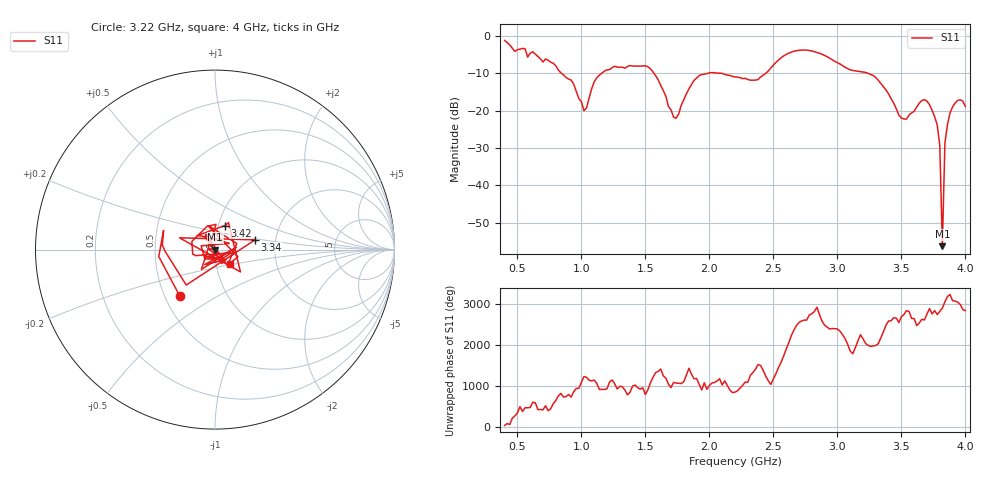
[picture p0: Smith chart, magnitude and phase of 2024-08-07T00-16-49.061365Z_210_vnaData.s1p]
!Created with skrf (http://scikit-rf.org).
# Hz S RI R 50.0
!freq ReS11 ImS11
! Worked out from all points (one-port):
!   181 points, 400 MHz to 4 GHz, reference 50 ohm
!   lowest |S11| = -56.3 dB at 3.82 GHz (marker M1), VSWR 1.00, Z = 50.1 + j0.0411 ohm
!   |S11| at or under -10 dB: 1.567 GHz to 1.988 GHz (421.2 MHz wide, 23.7 % of centre); 2.091 GHz to 2.441 GHz (350.1 MHz wide, 15.5 % of centre); 3.239 GHz to end of sweep (the widest 3 of 4)
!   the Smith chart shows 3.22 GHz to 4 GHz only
!   S11 on the Smith chart (normalised r, x): 3.22 GHz: 0.60, -0.34; 3.34 GHz: 1.56, +0.18; 3.42 GHz: 1.07, +0.29; 4 GHz: 1.16, -0.18
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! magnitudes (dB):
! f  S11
! 400 MHz  -1.2
! 860 MHz  -10.4
! 940 MHz  -12.9
! 1.02 GHz  -20.0
! 1.12 GHz  -11.2
! 1.3 GHz  -8.4
! 1.52 GHz  -8.3
! 1.6 GHz  -11.8
! 1.72 GHz  -21.7
! 1.76 GHz  -20.9
! 1.92 GHz  -10.6
! 2.2 GHz  -11.0
! 2.38 GHz  -11.7
! 2.66 GHz  -4.1
! 3.1 GHz  -9.1
! 3.22 GHz  -9.8
! 3.34 GHz  -12.8
! 3.42 GHz  -16.8
! 3.5 GHz  -22.0
! 3.56 GHz  -21.2
! 3.68 GHz  -17.0
! 3.78 GHz  -23.9
! 3.8 GHz  -29.4
! 3.82 GHz  -56.3
! 3.84 GHz  -28.7
! 3.86 GHz  -23.7
! 3.92 GHz  -17.9
! 4 GHz  -18.9
